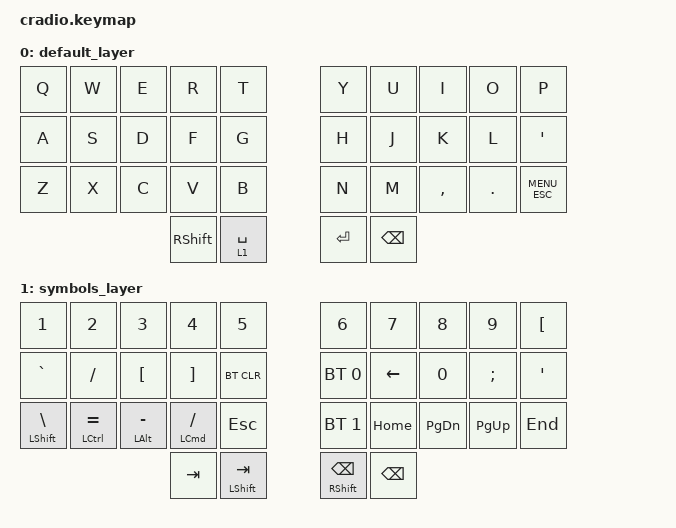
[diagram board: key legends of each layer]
#include <behaviors.dtsi>
#include <dt-bindings/zmk/keys.h>
#include <dt-bindings/zmk/bt.h>

&mt {
    flavor = "tap-preferred";
    tapping_term_ms = <175>;
};

/ {

    combos {
        compatible = "zmk,combos";
        combo_esc {
            timeout-ms = <100>;
            key-positions = <0 10>;
            bindings = <&kp ESC>;
        };
    };

    keymap {
        compatible = "zmk,keymap";

        default_layer {
            bindings = <
            &kp Q           &kp W       &kp E       &kp R       &kp T           &kp Y           &kp U       &kp I       &kp O       &kp P
            &kp A           &kp S       &kp D       &kp F       &kp G           &kp H           &kp J       &kp K       &kp L       &kp APOS
            &kp Z           &kp X       &kp C       &kp V       &kp B           &kp N           &kp M       &kp COMMA   &kp DOT     &kp C_MENU_ESC
                                                    &kp RSHFT   &lt 1 SPACE &kp ENTER       &kp BSPC
            >;
        };

        symbols_layer {
            bindings = <
            &kp NUM_1       &kp NUM_2       &kp NUM_3       &kp NUM_4       &kp NUM_5       &kp NUM_6   &kp NUM_7   &kp NUM_8   &kp NUM_9   &kp LBKT
            &kp GRAVE       &kp SLASH       &kp LBKT        &kp RBKT        &bt BT_CLR      &bt BT_SEL 0       &kp LEFT    &kp NUM_0   &kp SEMI    &kp APOS
            &mt LSHFT BSLH  &mt LCTRL EQL   &mt LALT MINUS  &mt LCMD SLASH  &kp ESC         &bt BT_SEL 1       &kp HOME    &kp PG_DN   &kp PG_UP   &kp END
                                                            &kp TAB       &mt LSHFT TAB   &mt RSHFT BKSP    &kp BKSP
            >;
        };

    };
};
